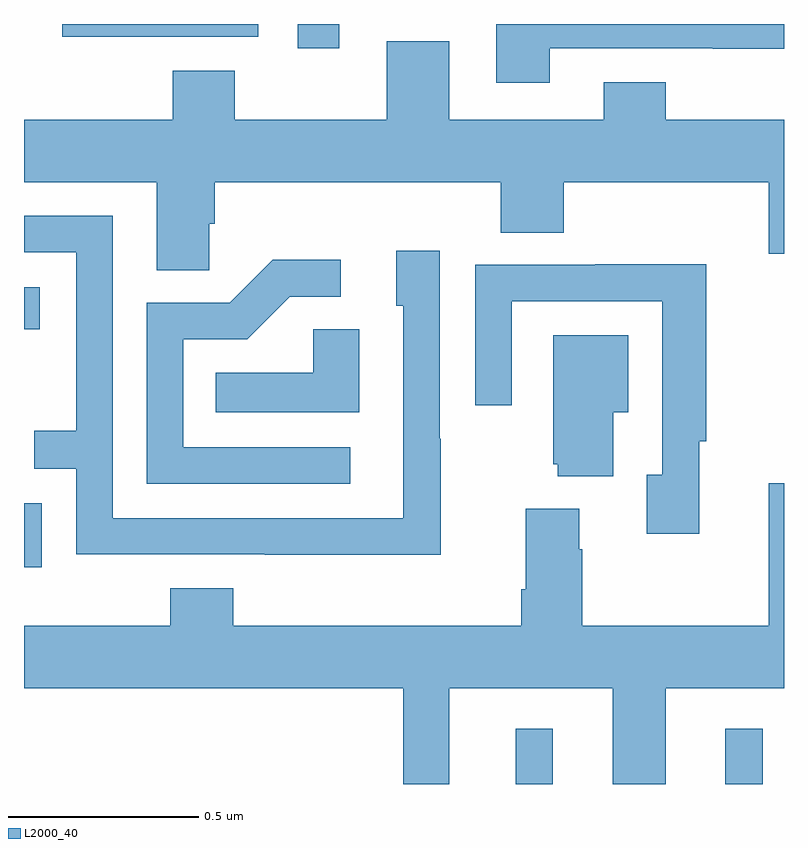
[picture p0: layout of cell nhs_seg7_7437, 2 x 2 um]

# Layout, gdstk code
import gdstk
lib = gdstk.Library(unit=1e-6, precision=1e-09)
def R(c, l, rs):  # rectangles x0, y0, x1, y1
    for r in rs: c.add(gdstk.rectangle(r[:2], r[2:], *l))
def P(c, l, *ps):  # polygons
    for p in ps: c.add(gdstk.Polygon(p, *l))
L2000_40 = (2000, 40)

nhs_seg7_7437 = lib.new_cell('nhs_seg7_7437')
R(nhs_seg7_7437, L2000_40, [(212.294,1031,212.392,1031.146), (212.846,1031,212.944,1031.146), (211,1031.571,211.047,1031.739), (211,1032.197,211.042,1032.307), (211.721,1032.936,211.83,1033), (211.101,1032.966,211.617,1033)])
P(nhs_seg7_7437, L2000_40, [(212.383,1032.936),(212.813,1032.936),(212.813,1032.935),(213,1032.935),(213,1033),(212.243,1033),(212.243,1032.846),(212.383,1032.846)],
  [(211.488,1032.475),(211.502,1032.475),(211.502,1032.584),(212.255,1032.584),(212.255,1032.451),(212.42,1032.451),(212.42,1032.584),(212.96,1032.584),(212.96,1032.396),(213,1032.396),(213,1032.748),(212.689,1032.748),(212.689,1032.847),(212.525,1032.847),(212.525,1032.748),(212.119,1032.748),(212.119,1032.955),(211.955,1032.955),(211.955,1032.748),(211.555,1032.748),(211.555,1032.877),(211.391,1032.877),(211.391,1032.748),(211,1032.748),(211,1032.584),(211.349,1032.584),(211.349,1032.352),(211.488,1032.352)],
  [(212.097,1031.909),(212.094,1031.909),(212.094,1032.403),(211.979,1032.403),(211.979,1032.258),(211.998,1032.258),(211.998,1031.7),(211.233,1031.7),(211.233,1032.495),(211,1032.495),(211,1032.399),(211.137,1032.399),(211.137,1031.93),(211.027,1031.93),(211.027,1031.829),(211.137,1031.829),(211.137,1031.604),(211.633,1031.604),(211.633,1031.603),(212.097,1031.603)],
  [(211.858,1031.886),(211.419,1031.886),(211.419,1032.171),(211.588,1032.171),(211.699,1032.282),(211.834,1032.282),(211.834,1032.38),(211.655,1032.38),(211.542,1032.267),(211.323,1032.267),(211.323,1031.79),(211.858,1031.79)],
  [(212.777,1031.902),(212.795,1031.902),(212.795,1032.368),(212.503,1032.368),(212.503,1032.366),(212.187,1032.366),(212.187,1031.997),(212.283,1031.997),(212.283,1032.27),(212.679,1032.27),(212.679,1031.814),(212.639,1031.814),(212.639,1031.658),(212.777,1031.658)],
  [(211.882,1032.197),(211.761,1032.197),(211.761,1032.082),(211.504,1032.082),(211.504,1031.978),(211.882,1031.978)],
  [(212.551,1031.978),(212.59,1031.978),(212.59,1032.181),(212.393,1032.181),(212.393,1031.841),(212.405,1031.841),(212.405,1031.81),(212.551,1031.81)],
  [(212.119,1031.252),(212.549,1031.252),(212.549,1031),(212.689,1031),(212.689,1031.252),(213,1031.252),(213,1031.791),(212.96,1031.791),(212.96,1031.416),(212.469,1031.416),(212.469,1031.618),(212.461,1031.618),(212.461,1031.725),(212.321,1031.725),(212.321,1031.512),(212.309,1031.512),(212.309,1031.416),(211.55,1031.416),(211.55,1031.515),(211.385,1031.515),(211.385,1031.416),(211,1031.416),(211,1031.252),(211.998,1031.252),(211.998,1031),(212.119,1031)])

lib.write_gds('nhs_seg7_7437.gds')
